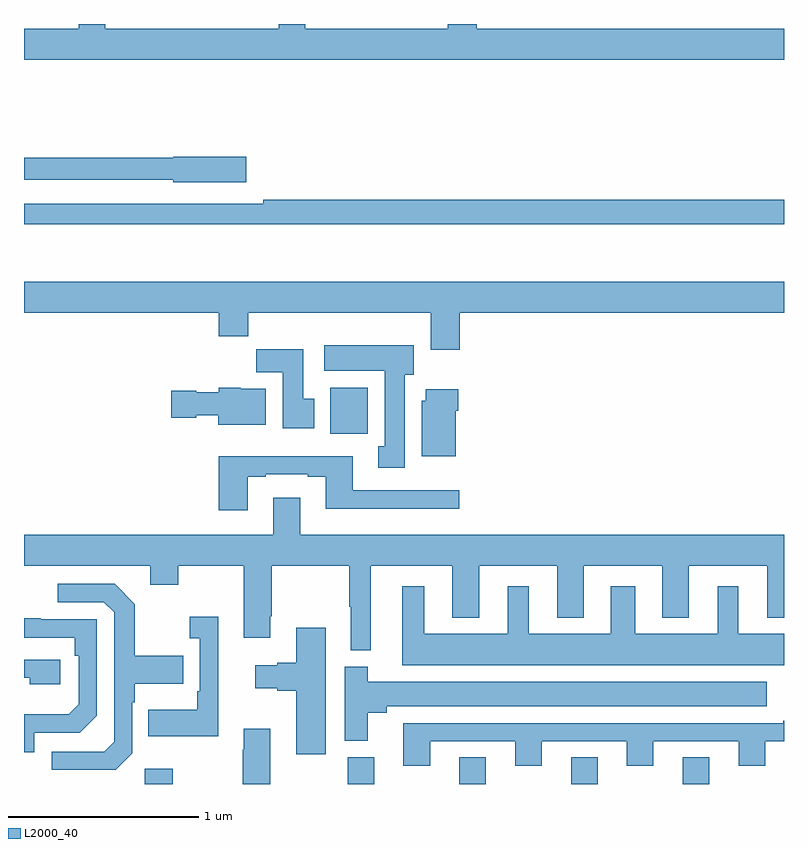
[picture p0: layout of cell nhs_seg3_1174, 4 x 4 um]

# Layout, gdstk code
import gdstk
lib = gdstk.Library(unit=1e-6, precision=1e-09)
def R(c, l, rs):  # rectangles x0, y0, x1, y1
    for r in rs: c.add(gdstk.rectangle(r[:2], r[2:], *l))
def A(c, l, x, y, w, h, nx, ny, dx, dy):  # array of equal rectangles
    R(c, l, [(x+i*dx, y+j*dy, x+i*dx+w, y+j*dy+h) for i in range(nx) for j in range(ny)])
def P(c, l, *ps):  # polygons
    for p in ps: c.add(gdstk.Polygon(p, *l))
L2000_40 = (2000, 40)

nhs_seg3_1174 = lib.new_cell('nhs_seg3_1174')
A(nhs_seg3_1174, L2000_40, 173.291, 734.4, 0.14, 0.14, 3, 1, 0.588, 0)
R(nhs_seg3_1174, L2000_40, [(171.636,734.4,171.783,734.479), (172.703,734.4,172.843,734.542), (172.613,736.244,172.81,736.486)])
P(nhs_seg3_1174, L2000_40, [(175,738.376),(173.384,738.376),(173.384,738.4),(173.231,738.4),(173.231,738.376),(172.479,738.376),(172.479,738.4),(172.341,738.4),(172.341,738.376),(171.427,738.376),(171.427,738.4),(171.287,738.4),(171.287,738.376),(171,738.376),(171,738.212),(175,738.212)],
  [(172.171,737.702),(171.786,737.702),(171.786,737.696),(171,737.696),(171,737.58),(171.786,737.58),(171.786,737.567),(172.171,737.567)],
  [(175,737.474),(172.258,737.474),(172.258,737.454),(171,737.454),(171,737.346),(175,737.346)],
  [(173.294,736.88),(175,736.88),(175,737.044),(171,737.044),(171,736.88),(172.025,736.88),(172.025,736.756),(172.181,736.756),(172.181,736.88),(173.141,736.88),(173.141,736.686),(173.294,736.686)],
  [(173.005,736.554),(173.05,736.554),(173.05,736.708),(172.581,736.708),(172.581,736.574),(172.898,736.574),(172.898,736.178),(172.865,736.178),(172.865,736.065),(173.005,736.065)],
  [(172.528,736.428),(172.471,736.428),(172.471,736.687),(172.222,736.687),(172.222,736.568),(172.361,736.568),(172.361,736.272),(172.528,736.272)],
  [(172.273,736.48),(172.14,736.48),(172.14,736.486),(172.026,736.486),(172.026,736.462),(171.906,736.462),(171.906,736.47),(171.774,736.47),(171.774,736.328),(171.906,736.328),(171.906,736.34),(172.022,736.34),(172.022,736.292),(172.273,736.292)],
  [(173.272,736.364),(173.285,736.364),(173.285,736.477),(173.114,736.477),(173.114,736.416),(173.093,736.416),(173.093,736.124),(173.272,736.124)],
  [(172.177,736.017),(172.273,736.017),(172.273,736.029),(172.493,736.029),(172.493,736.017),(172.589,736.017),(172.589,735.848),(173.29,735.848),(173.29,735.945),(172.729,735.945),(172.729,736.126),(172.025,736.126),(172.025,735.84),(172.177,735.84)],
  [(172.825,735.548),(173.255,735.548),(173.255,735.275),(173.395,735.275),(173.395,735.548),(173.807,735.548),(173.807,735.275),(173.947,735.275),(173.947,735.548),(174.359,735.548),(174.359,735.275),(174.499,735.275),(174.499,735.548),(174.911,735.548),(174.911,735.275),(175,735.275),(175,735.712),(172.453,735.712),(172.453,735.907),(172.313,735.907),(172.313,735.712),(171,735.712),(171,735.548),(171.665,735.548),(171.665,735.449),(171.813,735.449),(171.813,735.548),(172.157,735.548),(172.157,735.171),(172.297,735.171),(172.297,735.283),(172.305,735.283),(172.305,735.548),(172.711,735.548),(172.711,735.332),(172.721,735.332),(172.721,735.103),(172.825,735.103)],
  [(171.57,734.562),(171.57,734.831),(171.583,734.831),(171.583,734.927),(171.839,734.927),(171.839,735.075),(171.583,735.075),(171.583,735.347),(171.477,735.453),(171.177,735.453),(171.177,735.357),(171.42,735.357),(171.474,735.303),(171.474,734.622),(171.423,734.571),(171.147,734.571),(171.147,734.475),(171.483,734.475)],
  [(175,735.19),(174.76,735.19),(174.76,735.442),(174.65,735.442),(174.65,735.19),(174.217,735.19),(174.217,735.442),(174.089,735.442),(174.089,735.19),(173.656,735.19),(173.656,735.442),(173.546,735.442),(173.546,735.19),(173.107,735.19),(173.107,735.442),(172.991,735.442),(172.991,735.026),(175,735.026)],
  [(172.022,735.28),(171.873,735.28),(171.873,735.167),(171.924,735.167),(171.924,734.887),(171.912,734.887),(171.912,734.791),(171.655,734.791),(171.655,734.651),(172.022,734.651)],
  [(171.054,734.67),(171.294,734.67),(171.384,734.76),(171.384,735.267),(171.089,735.267),(171.089,735.272),(171,735.272),(171,735.171),(171.268,735.171),(171.268,735.074),(171.288,735.074),(171.288,734.82),(171.235,734.767),(171,734.767),(171,734.568),(171.054,734.568)],
  [(172.588,735.223),(172.433,735.223),(172.433,735.038),(172.334,735.038),(172.334,735.025),(172.218,735.025),(172.218,734.903),(172.334,734.903),(172.334,734.891),(172.433,734.891),(172.433,734.556),(172.588,734.556)],
  [(171.19,735.054),(171,735.054),(171,734.958),(171.029,734.958),(171.029,734.924),(171.19,734.924)],
  [(172.81,734.774),(172.909,734.774),(172.909,734.81),(174.91,734.81),(174.91,734.938),(172.81,734.938),(172.81,735.018),(172.688,735.018),(172.688,734.627),(172.81,734.627)],
  [(173.137,734.625),(173.585,734.625),(173.585,734.496),(173.725,734.496),(173.725,734.625),(174.173,734.625),(174.173,734.496),(174.313,734.496),(174.313,734.625),(174.761,734.625),(174.761,734.496),(174.901,734.496),(174.901,734.625),(175,734.625),(175,734.734),(174.997,734.734),(174.997,734.721),(172.997,734.721),(172.997,734.496),(173.137,734.496)],
  [(172.297,734.692),(172.157,734.692),(172.157,734.579),(172.15,734.579),(172.15,734.4),(172.297,734.4)])

lib.write_gds('nhs_seg3_1174.gds')
